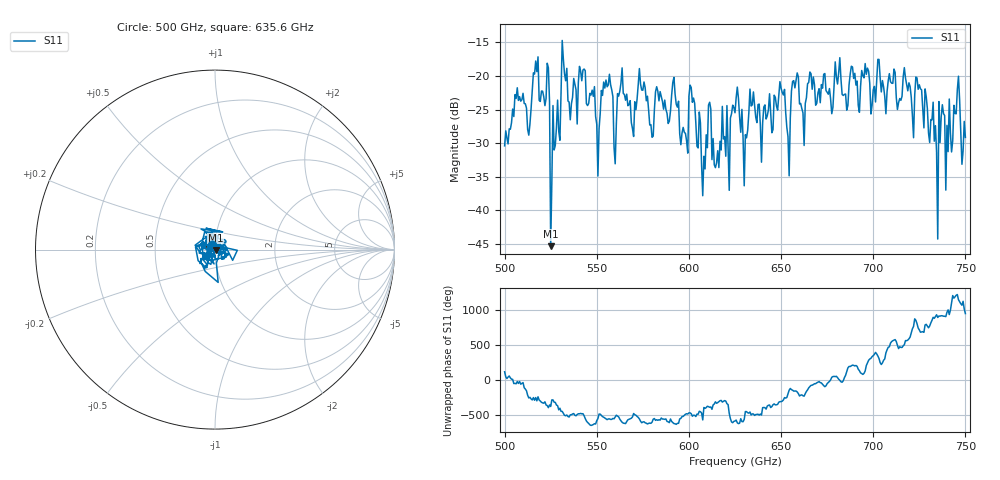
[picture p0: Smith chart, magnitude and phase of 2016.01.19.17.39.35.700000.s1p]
!Created with skrf (http://scikit-rf.org).
# GHz S RI R 50.0
!freq ReS11 ImS11
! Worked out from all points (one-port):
!   401 points, 500 GHz to 750 GHz, reference 50 ohm
!   lowest |S11| = -45.3 dB at 525 GHz (marker M1), VSWR 1.01, Z = 50.5 - j0.135 ohm
!   |S11| at or under -10 dB: start of sweep to end of sweep
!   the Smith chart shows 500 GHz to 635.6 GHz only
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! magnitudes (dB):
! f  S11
! 500 GHz  -30.4
! 506.9 GHz  -21.8
! 513.1 GHz  -28.8
! 516.9 GHz  -17.8
! 523.1 GHz  -18.1
! 525 GHz  -45.3
! 526.2 GHz  -24.4
! 531.2 GHz  -14.7
! 542.5 GHz  -19.1
! 550.6 GHz  -34.9
! 562.5 GHz  -22.3
! 593.8 GHz  -24.6
! 598.1 GHz  -28.5
! 601.9 GHz  -23.9
! 608.1 GHz  -31.9
! 610.6 GHz  -24.3
! 615 GHz  -32.9
! 625 GHz  -25.5
! 630.6 GHz  -28.7
! 634.4 GHz  -24.3
! 650.6 GHz  -22.5
! 653.8 GHz  -29.0
! 656.2 GHz  -20.8
! 687.5 GHz  -19.7
! 718.8 GHz  -22.2
! 733.8 GHz  -27.4
! 745.6 GHz  -22.0
! 750 GHz  -29.1
